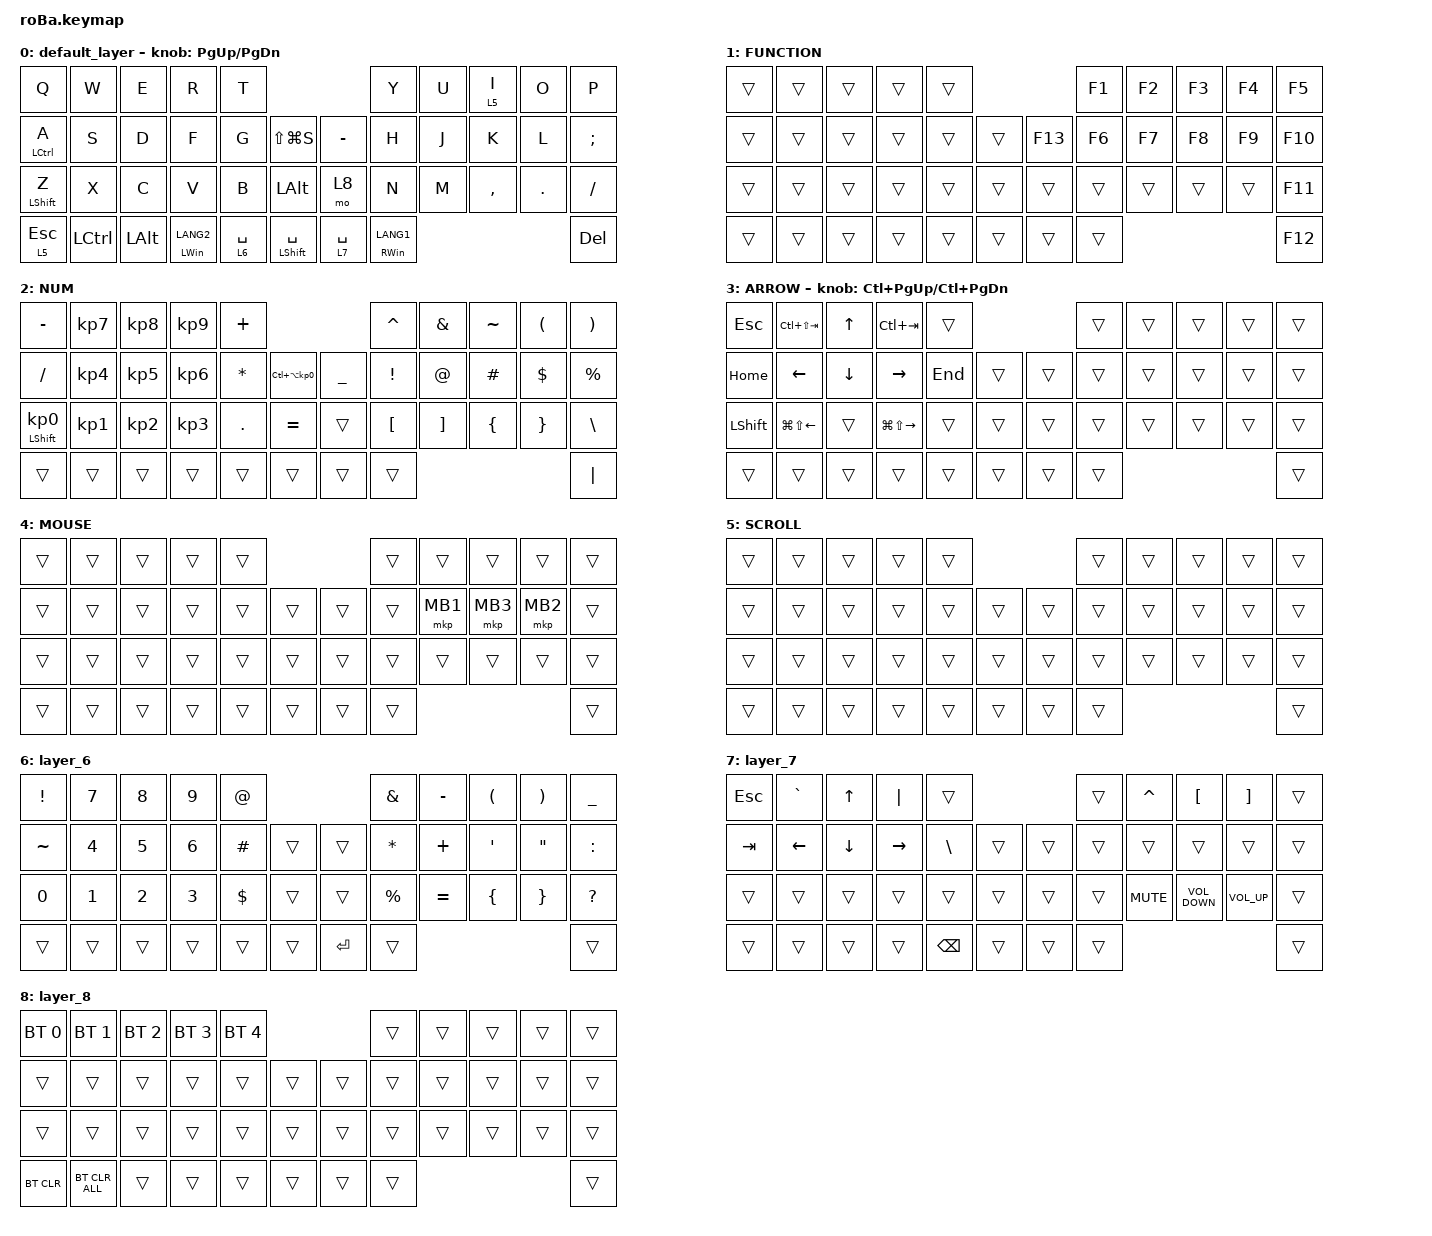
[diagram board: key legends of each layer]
#include <behaviors.dtsi>
#include <dt-bindings/zmk/bt.h>
#include <dt-bindings/zmk/keys.h>
#include <dt-bindings/zmk/pointing.h>

&mt {
    flavor = "balanced";
    quick-tap-ms = <0>;
};

&trackball {
    automouse-layer = <4>;
    scroll-layers = <5>;

    // arrows {
    //     layers = <3>;
    //     bindings =
    //         <&kp RIGHT_ARROW>,
    //         <&kp LEFT_ARROW>,
    //         <&kp UP_ARROW>,
    //         <&kp DOWN_ARROW>;
    //     tick = <10>;
    //     wait-ms = <5>;
    //     tap-ms = <5>;
    // };
};

/ {
    combos {
        compatible = "zmk,combos";

        tab {
            bindings = <&kp TAB>;
            key-positions = <11 12>;
        };

        shift_tab {
            bindings = <&kp LS(TAB)>;
            key-positions = <12 13>;
        };

        muhennkann {
            bindings = <&to_layer_0 INT_MUHENKAN>;
            key-positions = <11 10>;
        };

        double_quotation {
            bindings = <&kp DOUBLE_QUOTES>;
            key-positions = <20 21>;
        };

        eq {
            bindings = <&kp EQUAL>;
            key-positions = <24 25>;
        };
    };

    macros {
        to_layer_0: to_layer_0 {
            compatible = "zmk,behavior-macro-one-param";
            #binding-cells = <1>;
            bindings = <&to 0 &macro_param_1to1 &kp MACRO_PLACEHOLDER>;
            label = "TO_LAYER_0";
        };
    };

    behaviors {
        lt_to_layer_0: lt_to_layer_0 {
            compatible = "zmk,behavior-hold-tap";
            label = "LAYER_TAP_TO_0";
            bindings = <&mo>, <&to_layer_0>;

            #binding-cells = <2>;
            tapping-term-ms = <200>;
        };
    };

    keymap {
        compatible = "zmk,keymap";

        default_layer {
            bindings = <
&kp Q             &kp W      &kp E         &kp R               &kp T                                               &kp Y                &kp U  &lt 5 I    &kp O    &kp P
&mt LCTRL A       &kp S      &kp D         &kp F               &kp G        &kp LS(LG(S))             &kp MINUS    &kp H                &kp J  &kp K      &kp L    &kp SEMICOLON
&mt LEFT_SHIFT Z  &kp X      &kp C         &kp V               &kp B        &kp LEFT_ALT              &mo 8        &kp N                &kp M  &kp COMMA  &kp DOT  &kp SLASH
&lt 5 ESCAPE      &kp LCTRL  &kp LEFT_ALT  &mt LEFT_WIN LANG2  &lt 6 SPACE  &mt LEFT_SHIFT SPACE      &lt 7 SPACE  &mt RIGHT_WIN LANG1                             &kp DEL
            >;

            sensor-bindings = <&inc_dec_kp PG_UP PAGE_DOWN>;
        };

        FUNCTION {
            bindings = <
&trans  &trans  &trans  &trans  &trans                       &kp F1  &kp F2  &kp F3  &kp F4  &kp F5
&trans  &trans  &trans  &trans  &trans  &trans      &kp F13  &kp F6  &kp F7  &kp F8  &kp F9  &kp F10
&trans  &trans  &trans  &trans  &trans  &trans      &trans   &trans  &trans  &trans  &trans  &kp F11
&trans  &trans  &trans  &trans  &trans  &trans      &trans   &trans                          &kp F12
            >;
        };

        NUM {
            bindings = <
&kp MINUS                   &kp KP_NUMBER_7  &kp KP_NUMBER_8  &kp KP_NUMBER_9  &kp PLUS                                                   &kp CARET         &kp AMPERSAND      &kp TILDE       &kp LEFT_PARENTHESIS  &kp RIGHT_PARENTHESIS
&kp SLASH                   &kp KP_NUMBER_4  &kp KP_NUMBER_5  &kp KP_NUMBER_6  &kp ASTERISK  &kp LC(LA(KP_NUMBER_0))      &kp UNDERSCORE  &kp EXCLAMATION   &kp AT_SIGN        &kp HASH        &kp DOLLAR            &kp PERCENT
&mt LEFT_SHIFT KP_NUMBER_0  &kp KP_NUMBER_1  &kp KP_NUMBER_2  &kp KP_NUMBER_3  &kp PERIOD    &kp EQUAL                    &trans          &kp LEFT_BRACKET  &kp RIGHT_BRACKET  &kp LEFT_BRACE  &kp RIGHT_BRACE       &kp BACKSLASH
&trans                      &trans           &trans           &trans           &trans        &trans                       &trans          &trans                                                                     &kp PIPE
            >;
        };

        ARROW {
            bindings = <
&kp ESCAPE      &kp LC(LS(TAB))         &kp UP_ARROW    &kp LC(TAB)              &trans                       &trans  &trans  &trans  &trans  &trans
&kp HOME        &kp LEFT_ARROW          &kp DOWN_ARROW  &kp RIGHT_ARROW          &kp END  &trans      &trans  &trans  &trans  &trans  &trans  &trans
&kp LEFT_SHIFT  &kp LG(LS(LEFT_ARROW))  &trans          &kp LG(LS(RIGHT_ARROW))  &trans   &trans      &trans  &trans  &trans  &trans  &trans  &trans
&trans          &trans                  &trans          &trans                   &trans   &trans      &trans  &trans                          &trans
            >;

            sensor-bindings = <&inc_dec_kp LC(PAGE_UP) LC(PAGE_DOWN)>;
        };

        MOUSE {
            bindings = <
&trans  &trans  &trans  &trans  &trans                      &trans  &trans    &trans    &trans    &trans
&trans  &trans  &trans  &trans  &trans  &trans      &trans  &trans  &mkp MB1  &mkp MB3  &mkp MB2  &trans
&trans  &trans  &trans  &trans  &trans  &trans      &trans  &trans  &trans    &trans    &trans    &trans
&trans  &trans  &trans  &trans  &trans  &trans      &trans  &trans                                &trans
            >;
        };

        SCROLL {
            bindings = <
&trans  &trans  &trans  &trans  &trans                      &trans  &trans  &trans  &trans  &trans
&trans  &trans  &trans  &trans  &trans  &trans      &trans  &trans  &trans  &trans  &trans  &trans
&trans  &trans  &trans  &trans  &trans  &trans      &trans  &trans  &trans  &trans  &trans  &trans
&trans  &trans  &trans  &trans  &trans  &trans      &trans  &trans                          &trans
            >;
        };

        layer_6 {
            bindings = <
&kp EXCLAMATION  &kp NUMBER_7  &kp NUMBER_8  &kp NUMBER_9  &kp AT                         &kp AMPS     &kp MINUS  &kp LEFT_PARENTHESIS  &kp RIGHT_PARENTHESIS  &kp UNDER
&kp TILDE        &kp NUMBER_4  &kp NUMBER_5  &kp NUMBER_6  &kp HASH  &trans      &trans   &kp ASTRK    &kp PLUS   &kp SINGLE_QUOTE      &kp DOUBLE_QUOTES      &kp COLON
&kp NUMBER_0     &kp NUMBER_1  &kp NUMBER_2  &kp NUMBER_3  &kp DLLR  &trans      &trans   &kp PERCENT  &kp EQUAL  &kp LEFT_BRACE        &kp RIGHT_BRACE        &kp QMARK
&trans           &trans        &trans        &trans        &trans    &trans      &kp RET  &trans                                                               &trans
            >;
        };

        layer_7 {
            bindings = <
&kp ESCAPE  &kp GRAVE  &kp UP_ARROW  &kp PIPE   &trans                             &trans  &kp CARET   &kp LEFT_BRACKET   &kp RIGHT_BRACKET  &trans
&kp TAB     &kp LEFT   &kp DOWN      &kp RIGHT  &kp BACKSLASH  &trans      &trans  &trans  &trans      &trans             &trans             &trans
&trans      &trans     &trans        &trans     &trans         &trans      &trans  &trans  &kp K_MUTE  &kp C_VOLUME_DOWN  &kp C_VOLUME_UP    &trans
&trans      &trans     &trans        &trans     &kp BACKSPACE  &trans      &trans  &trans                                                    &trans
            >;
        };

        layer_8 {
            bindings = <
&bt BT_SEL 0  &bt BT_SEL 1    &bt BT_SEL 2  &bt BT_SEL 3  &bt BT_SEL 4                      &trans  &trans  &trans  &trans  &trans
&trans        &trans          &trans        &trans        &trans        &trans      &trans  &trans  &trans  &trans  &trans  &trans
&trans        &trans          &trans        &trans        &trans        &trans      &trans  &trans  &trans  &trans  &trans  &trans
&bt BT_CLR    &bt BT_CLR_ALL  &trans        &trans        &trans        &trans      &trans  &trans                          &trans
            >;
        };
    };
};
